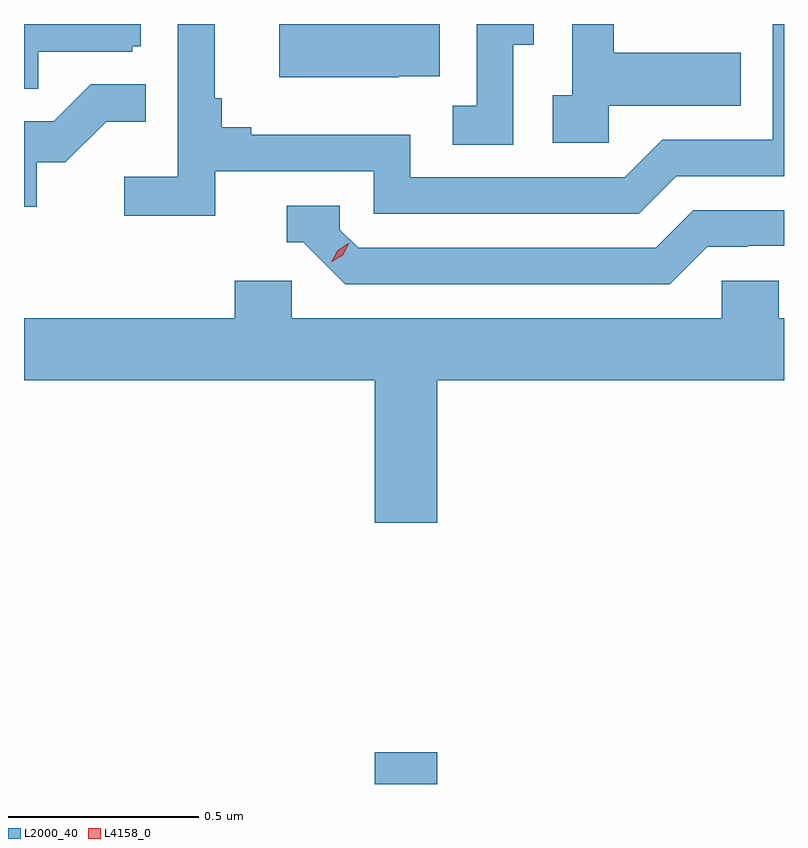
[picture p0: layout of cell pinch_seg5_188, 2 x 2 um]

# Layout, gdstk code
import gdstk
lib = gdstk.Library(unit=1e-6, precision=1e-09)
def R(c, l, rs):  # rectangles x0, y0, x1, y1
    for r in rs: c.add(gdstk.rectangle(r[:2], r[2:], *l))
def P(c, l, *ps):  # polygons
    for p in ps: c.add(gdstk.Polygon(p, *l))
L2000_40 = (2000, 40)
L4158_0 = (4158, 0)

pinch_seg5_188 = lib.new_cell('pinch_seg5_188')
R(pinch_seg5_188, L2000_40, [(1136.036,891.662,1136.2,891.745)])
P(pinch_seg5_188, L2000_40, [(1136.652,893.447),(1136.999,893.447),(1136.999,893.587),(1136.665,893.587),(1136.665,893.662),(1136.556,893.662),(1136.556,893.474),(1136.505,893.474),(1136.505,893.349),(1136.652,893.349)],
  [(1135.151,893.589),(1135.398,893.589),(1135.398,893.604),(1135.42,893.604),(1135.42,893.662),(1135.113,893.662),(1135.113,893.491),(1135.151,893.491)],
  [(1136.099,893.525),(1136.207,893.525),(1136.207,893.662),(1135.785,893.662),(1135.785,893.522),(1136.099,893.522)],
  [(1135.616,893.274),(1136.034,893.274),(1136.034,893.163),(1136.731,893.163),(1136.83,893.262),(1137.113,893.262),(1137.113,893.662),(1137.084,893.662),(1137.084,893.358),(1136.793,893.358),(1136.694,893.259),(1136.13,893.259),(1136.13,893.371),(1135.711,893.371),(1135.711,893.39),(1135.634,893.39),(1135.634,893.467),(1135.615,893.467),(1135.615,893.662),(1135.518,893.662),(1135.518,893.26),(1135.377,893.26),(1135.377,893.158),(1135.616,893.158)],
  [(1136.4,893.608),(1136.455,893.608),(1136.455,893.662),(1136.304,893.662),(1136.304,893.447),(1136.241,893.447),(1136.241,893.344),(1136.4,893.344)],
  [(1135.146,893.298),(1135.222,893.298),(1135.329,893.405),(1135.433,893.405),(1135.433,893.504),(1135.289,893.504),(1135.191,893.406),(1135.113,893.406),(1135.113,893.181),(1135.146,893.181)],
  [(1136.911,893.076),(1137.018,893.076),(1137.018,893.079),(1137.113,893.079),(1137.113,893.172),(1136.874,893.172),(1136.775,893.073),(1135.992,893.073),(1135.944,893.121),(1135.944,893.184),(1135.805,893.184),(1135.805,893.088),(1135.848,893.088),(1135.959,892.977),(1136.812,892.977)],
  [(1136.2,892.724),(1137.113,892.724),(1137.113,892.888),(1137.099,892.888),(1137.099,892.986),(1136.949,892.986),(1136.949,892.888),(1135.818,892.888),(1135.818,892.986),(1135.667,892.986),(1135.667,892.888),(1135.113,892.888),(1135.113,892.724),(1136.036,892.724),(1136.036,892.35),(1136.2,892.35)])
P(pinch_seg5_188, L4158_0, [(1135.921,893.035),(1135.921,893.035),(1135.938,893.067),(1135.969,893.086),(1135.969,893.086),(1135.969,893.086),(1135.952,893.054),(1135.922,893.035)])

lib.write_gds('pinch_seg5_188.gds')
